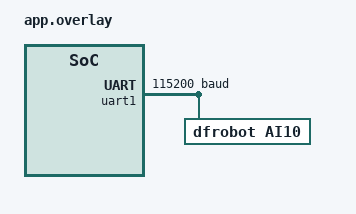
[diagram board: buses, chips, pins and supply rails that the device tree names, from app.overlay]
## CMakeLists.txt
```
# SPDX-FileCopyrightText: Copyright The Zephyr Project Contributors
# SPDX-License-Identifier: Apache-2.0

cmake_minimum_required(VERSION 3.20.0)

find_package(Zephyr REQUIRED HINTS $ENV{ZEPHYR_BASE})
project(dfrobot_ai10)

target_sources(app PRIVATE src/main.c)
```

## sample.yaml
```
# SPDX-License-Identifier: Apache-2.0

sample:
  name: DFRobot AI10 face recognition
  description: Face enrollment and matching using the DFRobot AI10 module and biometrics API

tests:
  sample.drivers.biometrics.dfrobot_ai10:
    build_only: true
    tags:
      - drivers
      - biometrics
      - serial
```

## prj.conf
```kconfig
# SPDX-FileCopyrightText: Copyright The Zephyr Project Contributors
# SPDX-License-Identifier: Apache-2.0

CONFIG_BIOMETRICS=y

CONFIG_LOG=y
CONFIG_BIOMETRICS_LOG_LEVEL_INF=y
```

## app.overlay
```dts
/*
 * SPDX-FileCopyrightText: Copyright The Zephyr Project Contributors
 * SPDX-License-Identifier: Apache-2.0
 */

/ {
	aliases {
		ai10 = &ai10;
	};
};

&uart1 {
	status = "okay";
	current-speed = <115200>;

	ai10: ai10 {
		compatible = "dfrobot,ai10";
		status = "okay";
	};
};
```

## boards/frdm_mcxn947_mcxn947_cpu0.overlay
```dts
/*
 * SPDX-License-Identifier: Apache-2.0
 *
 * DFRobot AI10 on Arduino UART (UART1 on nRF52840 DK). Cross TX/RX with the module.
 */

/ {
	aliases {
		biometrics = &dfrobot_ai10;
	};
};

&arduino_serial {
	status = "okay";
	current-speed = <115200>;

	dfrobot_ai10: dfrobot_ai10 {
		compatible = "dfrobot,ai10";
		status = "okay";
	};
};
```

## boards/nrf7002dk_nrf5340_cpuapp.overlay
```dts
/*
 * SPDX-License-Identifier: Apache-2.0
 */

/ {
	aliases {
		biometrics = &dfrobot_ai10;
	};
};

/*
 * On nRF7002 DK application core, uart1 is the Arduino serial port:
 * D1 / P1.01 = TX
 * D0 / P1.00 = RX
 *
 * This is separate from the board console / USB VCOM path on uart0.
 */
&arduino_serial {
	status = "okay";
	current-speed = <115200>;

	dfrobot_ai10: dfrobot_ai10 {
		compatible = "dfrobot,ai10";
		status = "okay";
	};
};
```

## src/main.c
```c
/*
 * SPDX-FileCopyrightText: Copyright The Zephyr Project Contributors
 * SPDX-License-Identifier: Apache-2.0
 */

#include <zephyr/kernel.h>
#include <zephyr/device.h>
#include <zephyr/drivers/biometrics.h>
#include <zephyr/drivers/biometrics/dfrobot_ai10.h>
#include <zephyr/logging/log.h>
#include <zephyr/sys/util.h>

LOG_MODULE_REGISTER(main, LOG_LEVEL_INF);

#define AI10_NODE DT_ALIAS(ai10)

#if !DT_NODE_EXISTS(AI10_NODE)
#error "AI10 module not defined. Add 'ai10 = &<your_node>;' to your DTS aliases"
#endif

#define CAPTURE_TIMEOUT K_SECONDS(15)

static const struct device *const ai10 = DEVICE_DT_GET(AI10_NODE);

static const char *const modality_names[] = {
	[BIOMETRIC_TYPE_FINGERPRINT] = "fingerprint",
	[BIOMETRIC_TYPE_IRIS] = "iris",
	[BIOMETRIC_TYPE_FACE] = "face",
	[BIOMETRIC_TYPE_PALM] = "palm",
	[BIOMETRIC_TYPE_VOICE] = "voice",
};

static enum biometric_sensor_type uid_modality(uint16_t uid)
{
	return uid >= DFROBOT_AI10_UID_PALM_MIN ? BIOMETRIC_TYPE_PALM : BIOMETRIC_TYPE_FACE;
}

static void print_capabilities(void)
{
	struct biometric_capabilities caps;
	int ret;

	ret = biometric_get_capabilities(ai10, &caps);
	if (ret < 0) {
		LOG_ERR("Failed to get capabilities: %d", ret);
		return;
	}

	LOG_INF("Module capabilities:");
	LOG_INF("  Supported modalities:");
	for (size_t i = 0; i < ARRAY_SIZE(modality_names); i++) {
		if ((caps.supported_modalities & BIT(i)) != 0U) {
			LOG_INF("    - %s", modality_names[i]);
		}
	}
	LOG_INF("  Max templates: %u (faces: user IDs %u-%u, palms: %u-%u)", caps.max_templates,
		DFROBOT_AI10_UID_FACE_MIN, DFROBOT_AI10_UID_FACE_MAX, DFROBOT_AI10_UID_PALM_MIN,
		DFROBOT_AI10_UID_PALM_MAX);
	LOG_INF("  Samples per enrollment: %u", caps.enrollment_samples_required);
}

static int enroll(const char *prompt, uint16_t label_id, uint16_t *assigned_uid)
{
	struct biometric_capture_result capture;
	int32_t uid;
	int ret;

	LOG_INF("%s", prompt);

	ret = biometric_enroll_start(ai10, label_id);
	if (ret < 0) {
		LOG_ERR("Failed to start enrollment: %d", ret);
		return ret;
	}

	ret = biometric_enroll_capture(ai10, CAPTURE_TIMEOUT, &capture);
	if (ret < 0) {
		if (ret == -ETIMEDOUT) {
			LOG_WRN("Nothing presented before timeout");
		} else if (ret == -EEXIST) {
			LOG_WRN("Already enrolled");
		} else {
			LOG_ERR("Enrollment capture failed: %d", ret);
		}
		biometric_enroll_abort(ai10);
		return ret;
	}

	ret = biometric_enroll_finalize(ai10);
	if (ret < 0) {
		LOG_ERR("Failed to finalize enrollment: %d", ret);
		return ret;
	}

	ret = biometric_attr_get(ai10, (enum biometric_attribute)DFROBOT_AI10_ATTR_LAST_ENROLL_UID,
				 &uid);
	if (ret < 0) {
		LOG_ERR("Failed to read assigned user ID: %d", ret);
		return ret;
	}

	*assigned_uid = (uint16_t)uid;
	LOG_INF("Module assigned user ID %u (a %s template), requested ID %u was only a label",
		*assigned_uid, modality_names[capture.modality], label_id);

	return 0;
}

static void identify(void)
{
	struct biometric_match_result result;
	int ret;

	LOG_INF("Identification: show your face or palm...");

	ret = biometric_match(ai10, BIOMETRIC_MATCH_IDENTIFY, 0, CAPTURE_TIMEOUT, &result);
	if (ret == 0) {
		LOG_INF("Recognized user ID %u by %s", result.template_id,
			modality_names[result.modality]);
	} else if (ret == -ENOENT) {
		LOG_WRN("Unknown user");
	} else if (ret == -ENOTSUP) {
		LOG_WRN("A QR code was presented instead of a face or palm");
	} else if (ret == -ETIMEDOUT) {
		LOG_WRN("Nothing presented before timeout");
	} else {
		LOG_ERR("Identification failed: %d", ret);
	}
}

static void verify(uint16_t uid)
{
	int ret;

	const char *modality = modality_names[uid_modality(uid)];

	LOG_INF("Verification against user ID %u (%s): show your %s...", uid, modality, modality);

	ret = biometric_match(ai10, BIOMETRIC_MATCH_VERIFY, uid, CAPTURE_TIMEOUT, NULL);
	if (ret == 0) {
		LOG_INF("Verified user ID %u", uid);
	} else if (ret == -ENOENT) {
		LOG_WRN("Presented biometric does not match user ID %u", uid);
	} else if (ret == -ETIMEDOUT) {
		LOG_WRN("Nothing presented before timeout");
	} else {
		LOG_ERR("Verification failed: %d", ret);
	}
}

static void list_templates(void)
{
	uint16_t ids[32];
	size_t count;
	int ret;

	ret = biometric_template_list(ai10, ids, ARRAY_SIZE(ids), &count);
	if (ret < 0) {
		LOG_ERR("Failed to list templates: %d", ret);
		return;
	}

	if (count == 0) {
		LOG_INF("No templates stored");
		return;
	}

	LOG_INF("%zu stored template(s):", count);
	for (size_t i = 0; i < count; i++) {
		LOG_INF("  - user ID %u (%s)", ids[i], modality_names[uid_modality(ids[i])]);
	}
}

int main(void)
{
	uint16_t face_uid = 0;
	uint16_t palm_uid = 0;

	LOG_INF("DFRobot AI10 face and palm recognition sample");

	if (!device_is_ready(ai10)) {
		LOG_ERR("Device not ready");
		return -ENODEV;
	}

	print_capabilities();

	enroll("Enrollment 1: look at the camera to enroll your FACE...", 1, &face_uid);
	enroll("Enrollment 2: hold your PALM over the module...", 2, &palm_uid);

	list_templates();

	identify();

	if (face_uid != 0U) {
		verify(face_uid);
	}

	if (palm_uid != 0U) {
		biometric_template_delete(ai10, palm_uid);
		LOG_INF("Deleted user ID %u", palm_uid);
		list_templates();
	}

	LOG_INF("Sample complete");
	return 0;
}
```
